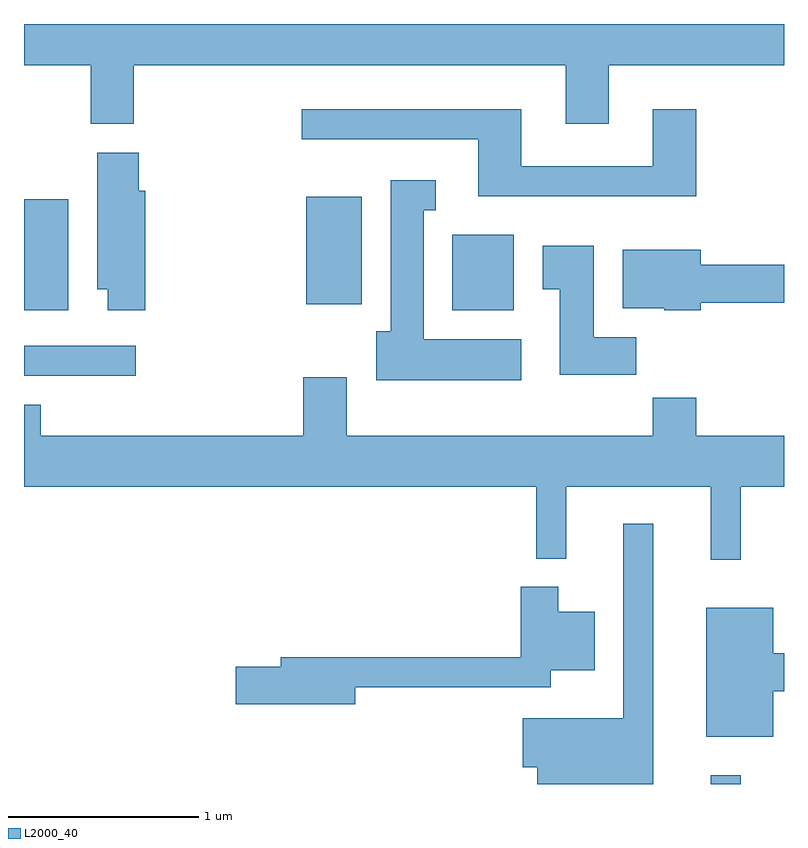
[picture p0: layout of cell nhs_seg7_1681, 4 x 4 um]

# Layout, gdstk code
import gdstk
lib = gdstk.Library(unit=1e-6, precision=1e-09)
def R(c, l, rs):  # rectangles x0, y0, x1, y1
    for r in rs: c.add(gdstk.rectangle(r[:2], r[2:], *l))
def P(c, l, *ps):  # polygons
    for p in ps: c.add(gdstk.Polygon(p, *l))
L2000_40 = (2000, 40)

nhs_seg7_1681 = lib.new_cell('nhs_seg7_1681')
R(nhs_seg7_1681, L2000_40, [(239.226,1768.252,239.384,1768.298), (235.611,1770.401,236.198,1770.559), (235.611,1770.746,235.844,1771.329), (237.866,1770.746,238.189,1771.144), (237.096,1770.776,237.389,1771.344)])
P(nhs_seg7_1681, L2000_40, [(236.189,1772.036),(238.461,1772.036),(238.461,1771.726),(238.689,1771.726),(238.689,1772.036),(239.611,1772.036),(239.611,1772.252),(235.611,1772.252),(235.611,1772.036),(235.961,1772.036),(235.961,1771.726),(236.189,1771.726)],
  [(239.149,1771.804),(238.921,1771.804),(238.921,1771.504),(238.229,1771.504),(238.229,1771.804),(237.073,1771.804),(237.073,1771.646),(238.001,1771.646),(238.001,1771.346),(239.149,1771.346)],
  [(236.249,1771.374),(236.214,1771.374),(236.214,1771.574),(235.996,1771.574),(235.996,1770.856),(236.051,1770.856),(236.051,1770.746),(236.249,1770.746)],
  [(238.229,1770.594),(237.714,1770.594),(237.714,1771.271),(237.778,1771.271),(237.778,1771.429),(237.541,1771.429),(237.541,1770.634),(237.466,1770.634),(237.466,1770.376),(238.229,1770.376)],
  [(238.834,1770.604),(238.609,1770.604),(238.609,1771.084),(238.341,1771.084),(238.341,1770.856),(238.431,1770.856),(238.431,1770.406),(238.834,1770.406)],
  [(239.174,1770.786),(239.611,1770.786),(239.611,1770.984),(239.174,1770.984),(239.174,1771.064),(238.761,1771.064),(238.761,1770.756),(238.98,1770.756),(238.98,1770.746),(239.174,1770.746)],
  [(239.384,1769.816),(239.611,1769.816),(239.611,1770.084),(239.149,1770.084),(239.149,1770.284),(238.921,1770.284),(238.921,1770.084),(237.309,1770.084),(237.309,1770.394),(237.081,1770.394),(237.081,1770.084),(235.699,1770.084),(235.699,1770.249),(235.611,1770.249),(235.611,1769.816),(238.306,1769.816),(238.306,1769.438),(238.464,1769.438),(238.464,1769.816),(239.226,1769.816),(239.226,1769.433),(239.384,1769.433)],
  [(238.924,1769.623),(238.766,1769.623),(238.766,1768.599),(238.236,1768.599),(238.236,1768.341),(238.311,1768.341),(238.311,1768.252),(238.924,1768.252)],
  [(237.354,1768.761),(238.384,1768.761),(238.384,1768.851),(238.614,1768.851),(238.614,1769.159),(238.424,1769.159),(238.424,1769.289),(238.226,1769.289),(238.226,1768.919),(236.961,1768.919),(236.961,1768.869),(236.726,1768.869),(236.726,1768.671),(237.354,1768.671)],
  [(239.554,1768.741),(239.611,1768.741),(239.611,1768.939),(239.554,1768.939),(239.554,1769.179),(239.201,1769.179),(239.201,1768.501),(239.554,1768.501)])

lib.write_gds('nhs_seg7_1681.gds')
